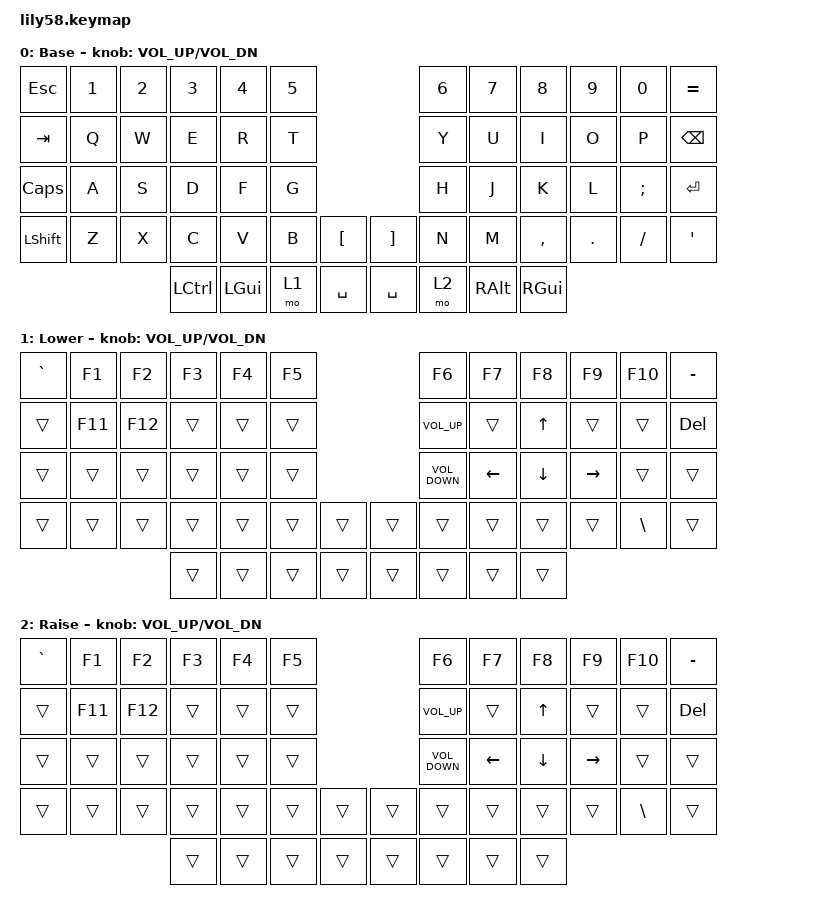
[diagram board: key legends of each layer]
/*
 * Copyright (c) 2020 The ZMK Contributors
 *
 * SPDX-License-Identifier: MIT
 */

#include <behaviors.dtsi>
#include <dt-bindings/zmk/keys.h>

/ {
    keymap {
        compatible = "zmk,keymap";

        default_layer {
            // ------------------------------------------------------------------------------------------------------------
            // |  ESC  |  1  |  2  |  3   |  4   |  5   |                   |  6   |  7    |  8    |  9   |   0   |   `   |
            // |  TAB  |  Q  |  W  |  E   |  R   |  T   |                   |  Y   |  U    |  I    |  O   |   P   |   -   |
            // |  CTRL |  A  |  S  |  D   |  F   |  G   |                   |  H   |  J    |  K    |  L   |   ;   |   '   |
            // | SHIFT |  Z  |  X  |  C   |  V   |  B   |   "["  |  |  "]"  |  N   |  M    |  ,    |  .   |   /   | SHIFT |
            //                     | ALT  | GUI  | LOWER|  SPACE |  | ENTER | RAISE| BSPC  | GUI   |

            display-name = "Base";
            bindings = <
&kp ESC       &kp N1  &kp N2  &kp N3     &kp N4    &kp N5                          &kp N6  &kp N7         &kp N8     &kp N9   &kp N0    &kp EQUAL
&kp TAB       &kp Q   &kp W   &kp E      &kp R     &kp T                           &kp Y   &kp U          &kp I      &kp O    &kp P     &kp BACKSPACE
&kp CAPSLOCK  &kp A   &kp S   &kp D      &kp F     &kp G                           &kp H   &kp J          &kp K      &kp L    &kp SEMI  &kp ENTER
&kp LSHFT     &kp Z   &kp X   &kp C      &kp V     &kp B   &kp LBKT     &kp RBKT   &kp N   &kp M          &kp COMMA  &kp DOT  &kp FSLH  &kp APOSTROPHE
                              &kp LCTRL  &kp LGUI  &mo 1   &kp SPACE    &kp SPACE  &mo 2   &kp RIGHT_ALT  &kp RGUI
            >;

            sensor-bindings = <&inc_dec_kp C_VOL_UP C_VOL_DN>;
        };

        lower_layer {
            // ------------------------------------------------------------------------------------------------------------
            // | BTCLR | BT1 | BT2 |  BT3 |  BT4 |  BT5 |                   |      |       |       |      |       |       |
            // |  F1   |  F2 |  F3 |  F4  |  F5  |  F6  |                   |  F7  |  F8   |  F9   |  F10 |  F11  |  F12  |
            // |   `   |  !  |  @  |  #   |  $   |  %   |                   |  ^   |  &    |  *    |  (   |   )   |   ~   |
            // |       |     |     |      |      |      |        |  |       |      |  _    |  +    |  {   |   }   |  "|"  |
            //                     |      |      |      |        |  |       |      |       |       |

            display-name = "Lower";
            bindings = <
&kp GRAVE  &kp F1   &kp F2   &kp F3  &kp F4  &kp F5                    &kp F6             &kp F7          &kp F8          &kp F9           &kp F10        &kp MINUS
&trans     &kp F11  &kp F12  &trans  &trans  &trans                    &kp C_VOLUME_UP    &trans          &kp UP_ARROW    &trans           &trans         &kp DELETE
&trans     &trans   &trans   &trans  &trans  &trans                    &kp C_VOLUME_DOWN  &kp LEFT_ARROW  &kp DOWN_ARROW  &kp RIGHT_ARROW  &trans         &trans
&trans     &trans   &trans   &trans  &trans  &trans  &trans    &trans  &trans             &trans          &trans          &trans           &kp BACKSLASH  &trans
                             &trans  &trans  &trans  &trans    &trans  &trans             &trans          &trans
            >;

            sensor-bindings = <&inc_dec_kp C_VOL_UP C_VOL_DN>;
        };

        raise_layer {
            display-name = "Raise";
            bindings = <
&kp GRAVE  &kp F1   &kp F2   &kp F3  &kp F4  &kp F5                    &kp F6             &kp F7          &kp F8          &kp F9           &kp F10        &kp MINUS
&trans     &kp F11  &kp F12  &trans  &trans  &trans                    &kp C_VOLUME_UP    &trans          &kp UP_ARROW    &trans           &trans         &kp DELETE
&trans     &trans   &trans   &trans  &trans  &trans                    &kp C_VOLUME_DOWN  &kp LEFT_ARROW  &kp DOWN_ARROW  &kp RIGHT_ARROW  &trans         &trans
&trans     &trans   &trans   &trans  &trans  &trans  &trans    &trans  &trans             &trans          &trans          &trans           &kp BACKSLASH  &trans
                             &trans  &trans  &trans  &trans    &trans  &trans             &trans          &trans
            >;

            sensor-bindings = <&inc_dec_kp C_VOL_UP C_VOL_DN>;
        };

        extra_1 { status = "reserved"; };

        extra_2 { status = "reserved"; };

        extra_3 { status = "reserved"; };
    };
};
